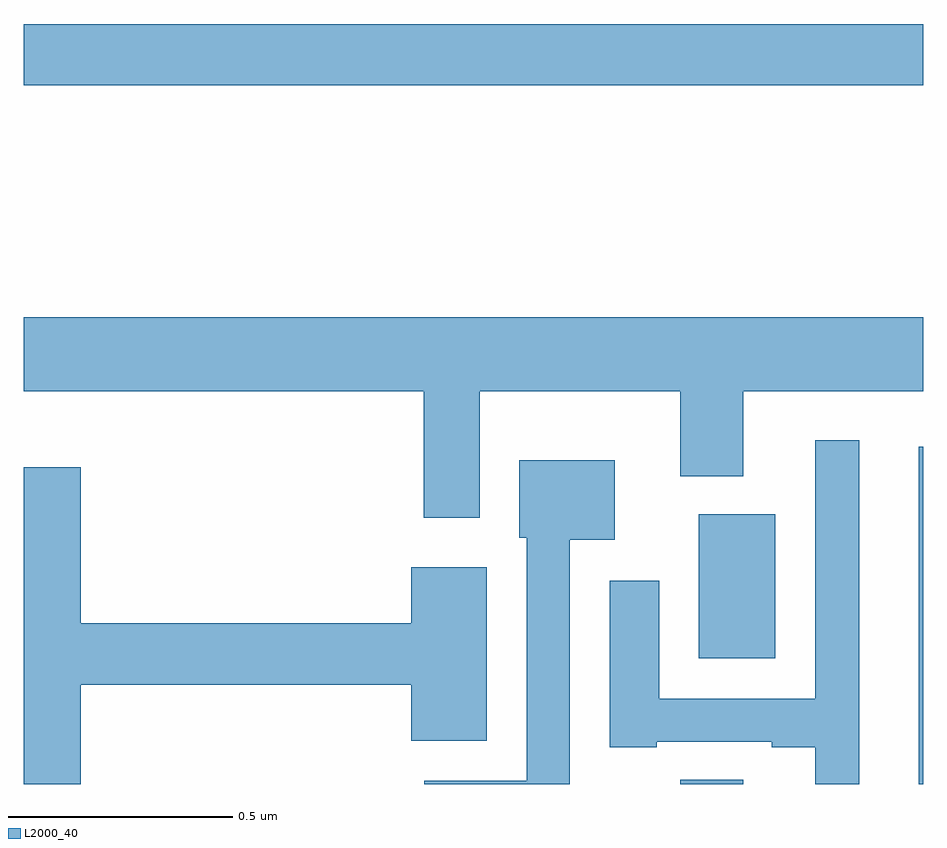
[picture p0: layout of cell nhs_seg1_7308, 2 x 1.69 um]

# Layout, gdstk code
import gdstk
lib = gdstk.Library(unit=1e-6, precision=1e-09)
def R(c, l, rs):  # rectangles x0, y0, x1, y1
    for r in rs: c.add(gdstk.rectangle(r[:2], r[2:], *l))
def P(c, l, *ps):  # polygons
    for p in ps: c.add(gdstk.Polygon(p, *l))
L2000_40 = (2000, 40)

nhs_seg1_7308 = lib.new_cell('nhs_seg1_7308')
R(nhs_seg1_7308, L2000_40, [(203.459,544.199,203.599,544.208), (203.99,544.199,204,544.948), (203.501,544.478,203.671,544.798), (202,545.752,204,545.888)])
P(nhs_seg1_7308, L2000_40, [(203.014,545.072),(203.459,545.072),(203.459,544.883),(203.599,544.883),(203.599,545.072),(204,545.072),(204,545.236),(202,545.236),(202,545.072),(202.889,545.072),(202.889,544.791),(203.014,544.791)],
  [(203.857,544.963),(203.76,544.963),(203.76,544.389),(203.413,544.389),(203.413,544.651),(203.303,544.651),(203.303,544.281),(203.407,544.281),(203.407,544.293),(203.663,544.293),(203.663,544.281),(203.759,544.281),(203.759,544.199),(203.857,544.199)],
  [(203.214,544.742),(203.314,544.742),(203.314,544.918),(203.102,544.918),(203.102,544.746),(203.118,544.746),(203.118,544.206),(202.89,544.206),(202.89,544.199),(203.214,544.199)],
  [(202.127,544.42),(202.862,544.42),(202.862,544.295),(203.029,544.295),(203.029,544.681),(202.862,544.681),(202.862,544.556),(202.127,544.556),(202.127,544.903),(202,544.903),(202,544.199),(202.127,544.199)])

lib.write_gds('nhs_seg1_7308.gds')
